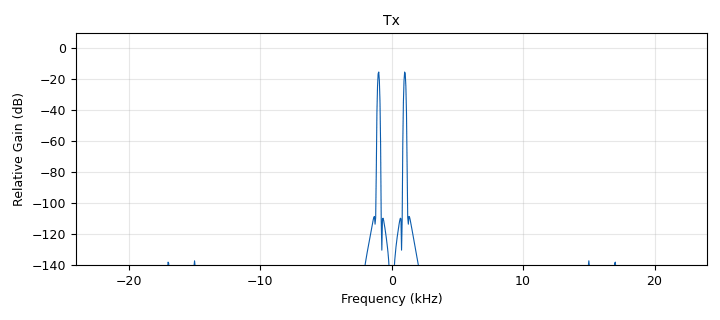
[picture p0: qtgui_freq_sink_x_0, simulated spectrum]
options:
  parameters:
    author: ubuntu
    generate_options: qt_gui
    id: test_snd_aloop_card
    output_language: python
    title: Test loopback sound card
  states: {}

blocks:
- name: fc
  id: variable_qtgui_range
  parameters:
    label: Center frequency
    start: '100'
    step: '1'
    stop: '20000'
    value: '1000'
  states: {}
- name: samp_rate
  id: variable
  parameters:
    value: '48000'
  states: {}
- name: analog_sig_source_x_0
  id: analog_sig_source_x
  parameters:
    amp: '1'
    freq: fc
    offset: '0'
    phase: '0'
    samp_rate: samp_rate
    type: float
    waveform: analog.GR_COS_WAVE
  states: {}
- name: audio_in
  id: parameter
  parameters:
    label: Audio Input
    type: str
    value: plughw:0,1,0
  states: {}
- name: audio_out
  id: parameter
  parameters:
    label: Audio Out
    type: str
    value: plughw:0,0,0
  states: {}
- name: audio_sink_0
  id: audio_sink
  parameters:
    device_name: audio_out
    samp_rate: samp_rate
  states: {}
- name: audio_source_0
  id: audio_source
  parameters:
    device_name: audio_in
    samp_rate: samp_rate
  states: {}
- name: qtgui_freq_sink_x_0
  id: qtgui_freq_sink_x
  parameters:
    bw: samp_rate
    fc: '0'
    fftsize: '1024'
    name: '"Tx"'
    type: float
  states: {}
- name: qtgui_waterfall_sink_x_0
  id: qtgui_waterfall_sink_x
  parameters:
    bw: samp_rate
    fc: '0'
    fftsize: '1024'
    name: '"Rx"'
    type: float
  states: {}

connections:
- [analog_sig_source_x_0, '0', audio_sink_0, '0']
- [analog_sig_source_x_0, '0', qtgui_freq_sink_x_0, '0']
- [audio_source_0, '0', qtgui_waterfall_sink_x_0, '0']

metadata:
  file_format: 1
  grc_version: 3.10.9.2
